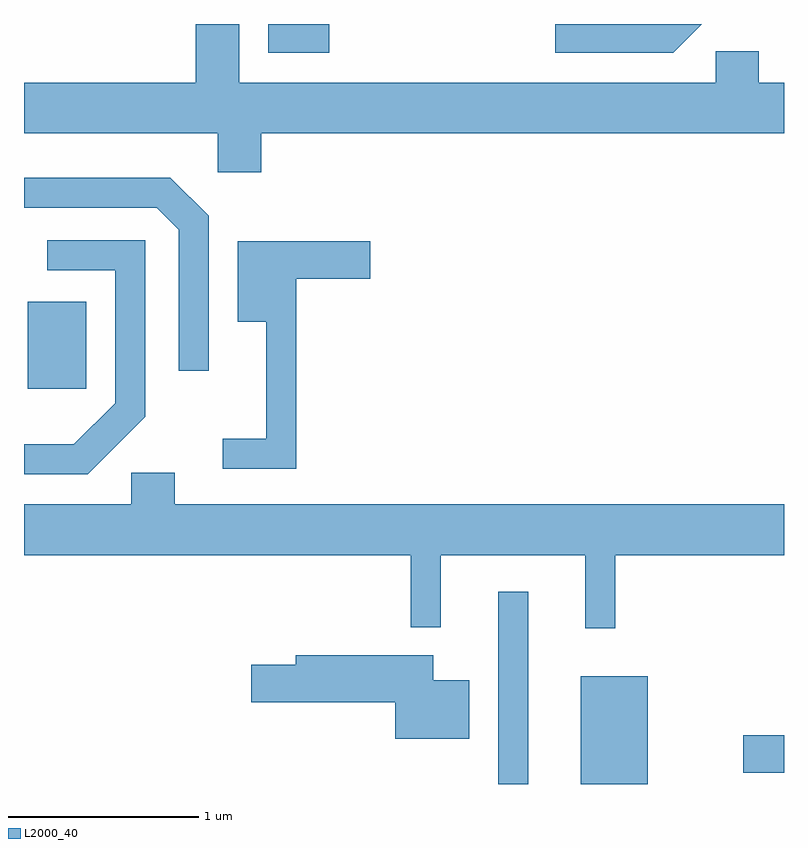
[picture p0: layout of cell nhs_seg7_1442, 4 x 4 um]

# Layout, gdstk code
import gdstk
lib = gdstk.Library(unit=1e-6, precision=1e-09)
def R(c, l, rs):  # rectangles x0, y0, x1, y1
    for r in rs: c.add(gdstk.rectangle(r[:2], r[2:], *l))
def P(c, l, *ps):  # polygons
    for p in ps: c.add(gdstk.Polygon(p, *l))
L2000_40 = (2000, 40)

nhs_seg7_1442 = lib.new_cell('nhs_seg7_1442')
R(nhs_seg7_1442, L2000_40, [(232.106,1684.252,232.264,1685.263), (232.541,1684.252,232.894,1684.819), (233.396,1684.311,233.611,1684.509), (229.631,1686.331,229.939,1686.789), (230.896,1688.101,231.218,1688.252)])
P(nhs_seg7_1442, L2000_40, [(230.859,1687.676),(233.611,1687.676),(233.611,1687.944),(233.479,1687.944),(233.479,1688.109),(233.251,1688.109),(233.251,1687.944),(230.744,1687.944),(230.744,1688.252),(230.516,1688.252),(230.516,1687.944),(229.611,1687.944),(229.611,1687.676),(230.631,1687.676),(230.631,1687.471),(230.859,1687.471)],
  [(233.178,1688.252),(232.406,1688.252),(232.406,1688.101),(233.027,1688.101)],
  [(230.584,1687.242),(230.382,1687.444),(229.611,1687.444),(229.611,1687.286),(230.309,1687.286),(230.426,1687.169),(230.426,1686.428),(230.584,1686.428)],
  [(230.249,1686.184),(230.249,1687.114),(229.733,1687.114),(229.733,1686.956),(230.091,1686.956),(230.091,1686.257),(229.874,1686.039),(229.611,1686.039),(229.611,1685.881),(229.947,1685.881)],
  [(231.044,1686.911),(231.434,1686.911),(231.434,1687.109),(230.736,1687.109),(230.736,1686.686),(230.886,1686.686),(230.886,1686.069),(230.658,1686.069),(230.658,1685.911),(231.044,1685.911)],
  [(232.724,1685.456),(233.611,1685.456),(233.611,1685.724),(230.404,1685.724),(230.404,1685.889),(230.176,1685.889),(230.176,1685.724),(229.611,1685.724),(229.611,1685.456),(231.646,1685.456),(231.646,1685.078),(231.804,1685.078),(231.804,1685.456),(232.566,1685.456),(232.566,1685.073),(232.724,1685.073)],
  [(231.954,1684.799),(231.764,1684.799),(231.764,1684.929),(231.041,1684.929),(231.041,1684.879),(230.806,1684.879),(230.806,1684.681),(231.566,1684.681),(231.566,1684.491),(231.954,1684.491)])

lib.write_gds('nhs_seg7_1442.gds')
